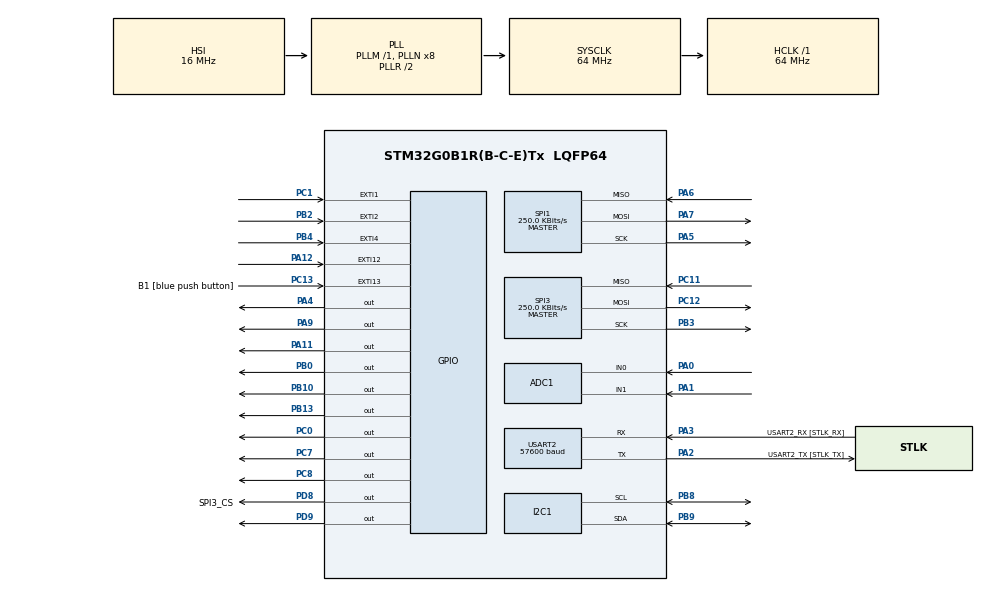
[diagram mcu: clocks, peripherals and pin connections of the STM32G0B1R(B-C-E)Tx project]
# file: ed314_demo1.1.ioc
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ADC1.Channel-0\#ChannelRegularConversion=ADC_CHANNEL_0
ADC1.Channel-1\#ChannelRegularConversion=ADC_CHANNEL_1
ADC1.ClockPrescaler=ADC_CLOCK_SYNC_PCLK_DIV2
ADC1.ContinuousConvMode=DISABLE
ADC1.DMAContinuousRequests=ENABLE
ADC1.ExternalTrigConv=ADC_EXTERNALTRIG_T2_TRGO
ADC1.NbrOfConversion=2
ADC1.NbrOfConversionFlag=1
ADC1.Rank-0\#ChannelRegularConversion=1
ADC1.Rank-1\#ChannelRegularConversion=2
ADC1.SamplingTime-0\#ChannelRegularConversion=ADC_SAMPLINGTIME_COMMON_1
ADC1.SamplingTime-1\#ChannelRegularConversion=ADC_SAMPLINGTIME_COMMON_1
ADC1.SamplingTimeCommon1=ADC_SAMPLETIME_12CYCLES_5
ADC1.SamplingTimeCommon2=ADC_SAMPLETIME_12CYCLES_5
ADC1.SelectedChannel=ADC_CHANNEL_0|ADC_CHANNEL_1
ADC1.master=1
Dma.ADC1.0.Direction=DMA_PERIPH_TO_MEMORY
Dma.ADC1.0.EventEnable=DISABLE
Dma.ADC1.0.Instance=DMA1_Channel1
Dma.ADC1.0.MemDataAlignment=DMA_MDATAALIGN_WORD
Dma.ADC1.0.MemInc=DMA_MINC_ENABLE
Dma.ADC1.0.Mode=DMA_CIRCULAR
Dma.ADC1.0.PeriphDataAlignment=DMA_PDATAALIGN_WORD
Dma.ADC1.0.PeriphInc=DMA_PINC_DISABLE
Dma.ADC1.0.Polarity=HAL_DMAMUX_REQ_GEN_RISING
Dma.ADC1.0.Priority=DMA_PRIORITY_LOW
Dma.ADC1.0.RequestNumber=1
Dma.ADC1.0.SignalID=NONE
Dma.ADC1.0.SyncEnable=DISABLE
Dma.ADC1.0.SyncPolarity=HAL_DMAMUX_SYNC_NO_EVENT
Dma.ADC1.0.SyncRequestNumber=1
Dma.ADC1.0.SyncSignalID=NONE
Dma.Request0=ADC1
I2C1.Timing=0x10B17DB5
Mcu.Family=STM32G0
Mcu.Name=STM32G0B1R(B-C-E)Tx
Mcu.Package=LQFP64
NVIC.DMA1_Channel1_IRQn=true\:0\:0\:false\:false\:true\:false\:true\:true
NVIC.EXTI0_1_IRQn=true\:0\:0\:false\:false\:true\:true\:true\:true
NVIC.EXTI2_3_IRQn=true\:0\:0\:false\:false\:true\:true\:true\:true
NVIC.EXTI4_15_IRQn=true\:0\:0\:false\:false\:true\:true\:true\:true
NVIC.TIM2_IRQn=true\:0\:0\:false\:false\:true\:true\:true\:true
NVIC.USART2_LPUART2_IRQn=true\:0\:0\:false\:false\:true\:true\:true\:true
PA0.Mode=IN0
PA0.Signal=ADC1_IN0
PA1.Mode=IN1
PA1.Signal=ADC1_IN1
PA11\ [PA9].PinState=GPIO_PIN_RESET
PA11\ [PA9].Signal=GPIO_Output
PA12\ [PA10].GPIO_PuPd=GPIO_PULLDOWN
PA12\ [PA10].Signal=GPXTI12
PA13.GPIO_Label=TMS
PA13.Mode=Serial_Wire
PA13.Signal=SYS_SWDIO
PA14-BOOT0.GPIO_Label=TCK
PA14-BOOT0.Mode=Serial_Wire
PA14-BOOT0.Signal=SYS_SWCLK
PA2.GPIO_Label=USART2_TX [STLK_TX]
PA2.Mode=Asynchronous
PA2.Signal=USART2_TX
PA3.GPIO_Label=USART2_RX [STLK_RX]
PA3.Mode=Asynchronous
PA3.Signal=USART2_RX
PA4.Signal=GPIO_Output
PA5.Mode=Full_Duplex_Master
PA5.Signal=SPI1_SCK
PA6.Mode=Full_Duplex_Master
PA6.Signal=SPI1_MISO
PA7.Mode=Full_Duplex_Master
PA7.Signal=SPI1_MOSI
PA9.Signal=GPIO_Output
PB0.Signal=GPIO_Output
PB10.Signal=GPIO_Output
PB13.Signal=GPIO_Output
PB2.GPIO_PuPd=GPIO_PULLDOWN
PB2.Signal=GPXTI2
PB3.GPIO_PuPd=GPIO_PULLUP
PB3.Mode=Full_Duplex_Master
PB3.Signal=SPI3_SCK
PB4.GPIO_PuPd=GPIO_PULLDOWN
PB4.Signal=GPXTI4
PB8.Mode=I2C
PB8.Signal=I2C1_SCL
PB9.Mode=I2C
PB9.Signal=I2C1_SDA
PC0.Signal=GPIO_Output
PC1.GPIO_PuPd=GPIO_PULLDOWN
PC1.Signal=GPXTI1
PC11.GPIO_PuPd=GPIO_PULLUP
PC11.Mode=Full_Duplex_Master
PC11.Signal=SPI3_MISO
PC12.GPIO_PuPd=GPIO_PULLUP
PC12.Mode=Full_Duplex_Master
PC12.Signal=SPI3_MOSI
PC13.GPIO_Label=B1 [blue push button]
PC13.Signal=GPXTI13
PC14-OSC32_IN\ (PC14).Mode=LSE-External-Oscillator
PC14-OSC32_IN\ (PC14).Signal=RCC_OSC32_IN
PC15-OSC32_OUT\ (PC15).Mode=LSE-External-Oscillator
PC15-OSC32_OUT\ (PC15).Signal=RCC_OSC32_OUT
PC7.Signal=GPIO_Output
PC8.Signal=GPIO_Output
PD8.GPIO_Label=SPI3_CS
PD8.GPIO_PuPd=GPIO_PULLUP
PD8.PinState=GPIO_PIN_SET
PD8.Signal=GPIO_Output
PD9.Signal=GPIO_Output
PF0-OSC_IN\ (PF0).GPIO_Label=MCO
PF0-OSC_IN\ (PF0).Mode=HSE-External-Clock-Source
PF0-OSC_IN\ (PF0).Signal=RCC_OSC_IN
ProjectManager.HeapSize=0x200
ProjectManager.StackSize=0x400
ProjectManager.TargetToolchain=STM32CubeIDE
RCC.ADCFreq_Value=64000000
RCC.AHBFreq_Value=64000000
RCC.CortexFreq_Value=64000000
RCC.EXTERNAL_CLOCK_VALUE=12288000
RCC.HCLKFreq_Value=64000000
RCC.HSE_VALUE=8000000
RCC.HSI48_VALUE=48000000
RCC.HSI_VALUE=16000000
RCC.RTCClockSelection=RCC_RTCCLKSOURCE_LSE
RCC.SYSCLKFreq_VALUE=64000000
RCC.SYSCLKSource=RCC_SYSCLKSOURCE_PLLCLK
RCC.USBFreq_Value=48000000
RCC.VCOOutputFreq_Value=128000000
RTC.Date=26
RTC.Hours=22
RTC.Minutes=12
RTC.Month=RTC_MONTH_FEBRUARY
RTC.Seconds=42
RTC.WeekDay=RTC_WEEKDAY_WEDNESDAY
RTC.Year=25
SPI1.BaudRatePrescaler=SPI_BAUDRATEPRESCALER_256
SPI1.CalculateBaudRate=250.0 KBits/s
SPI1.Direction=SPI_DIRECTION_2LINES
SPI1.Mode=SPI_MODE_MASTER
SPI1.VirtualType=VM_MASTER
SPI3.BaudRatePrescaler=SPI_BAUDRATEPRESCALER_256
SPI3.CalculateBaudRate=250.0 KBits/s
SPI3.Direction=SPI_DIRECTION_2LINES
SPI3.Mode=SPI_MODE_MASTER
SPI3.VirtualType=VM_MASTER
TIM2.Period=12799
TIM2.Prescaler=0
TIM2.TIM_MasterOutputTrigger=TIM_TRGO_UPDATE
USART2.BaudRate=57600
USART2.Parity=PARITY_EVEN
USART2.VirtualMode-Asynchronous=VM_ASYNC
USART2.WordLength=WORDLENGTH_9B
VP_FATFS_VS_Generic.Mode=User_defined
VP_RTC_VS_RTC_Activate.Mode=RTC_Enabled
VP_RTC_VS_RTC_Calendar.Mode=RTC_Calendar
VP_SYS_VS_DBSignals.Mode=DisableDeadBatterySignals
VP_TIM2_VS_ClockSourceINT.Mode=Internal
board=NUCLEO-G0B1RE

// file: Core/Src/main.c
/* USER CODE BEGIN Header */
/**
 ******************************************************************************
 * @file           : main.c
 * @brief          : Main program body
 ******************************************************************************
 * @attention
 *
 * Copyright (c) 2025 STMicroelectronics.
 * All rights reserved.
 *
 * This software is licensed under terms that can be found in the LICENSE file
 * in the root directory of this software component.
 * If no LICENSE file comes with this software, it is provided AS-IS.
 *
 ******************************************************************************
 */
/* USER CODE END Header */
#include "main.h"
#include "app_fatfs.h"

/* USER CODE BEGIN Includes */
#include <math.h>
#include <stdio.h>
#include <string.h>
#include <stdarg.h>
#include <ssd1306.h>
#include <ssd1306_fonts.h>
#include "RC522.h"
#include <ctype.h>
/* USER CODE END Includes */

/* USER CODE BEGIN PD */
#define BUFFER_SIZE 400
#define OP_AMP_GAIN 1.33
#define DEBOUNCE_DELAY 20

// Font and color definitions
#define FONT Font_6x8
#define TEXT_COLOR  White
#define BG_COLOR    Black

// Display constants - adjusted for 128x32 OLED
#define DISPLAY_WIDTH  128
#define DISPLAY_HEIGHT 32
#define LINE_HEIGHT    10
#define LEFT_MARGIN    2
#define VALUE_COLUMN   60

/* USER CODE END PD */

ADC_HandleTypeDef hadc1;
DMA_HandleTypeDef hdma_adc1;

I2C_HandleTypeDef hi2c1;

RTC_HandleTypeDef hrtc;

SPI_HandleTypeDef hspi1;
SPI_HandleTypeDef hspi3;

TIM_HandleTypeDef htim2;

UART_HandleTypeDef huart2;

/* USER CODE BEGIN PV */

uint8_t rx_buffer[50];
uint8_t rx_buffer_command[50];
volatile uint8_t rx_index = 0;
volatile uint8_t dma_complete = 0;
uint32_t adc_buffer[BUFFER_SIZE];
uint32_t v_max;
uint32_t v_min;
uint32_t i_max;
uint32_t i_min;
float voltage = 0.0;
float voltage_buf[BUFFER_SIZE / 2];
float current_buf[BUFFER_SIZE / 2];

float current = 0.0;
float apparent = 0.0;
float power_factor = 0.0;
float units_left = 0.0;
float phase_diff = 0.0;
float real_power = 0.0;
float reactive_power = 0.0;
float energy = 0.0;
float max_power = 3000.0;
float min_units = 10.0;
int unit_add = 0;
int unit_add_wH = 0;
float unit_add_kWH;
int count_units = 1;

volatile int uartFlag = 0;
volatile int logging = 0;

// Define states for the load button
volatile int loadButton = 0;
typedef enum {
	LOAD_BTN_IDLE, LOAD_BTN_DEBOUNCE, LOAD_BTN_HELD, LOAD_BTN_WAIT_RELEASE
} LoadButtonState;
static LoadButtonState loadBtnState = LOAD_BTN_IDLE;
static uint32_t loadDebounceStartTime = 0;
static const uint32_t LOAD_DEBOUNCE_DELAY = DEBOUNCE_DELAY; // Use the same delay constant

typedef enum {
	KEYPAD_IDLE, KEYPAD_DEBOUNCE, KEYPAD_HELD, KEYPAD_WAIT_RELEASE
} KeypadState;

KeypadState keypadState = KEYPAD_IDLE;

static uint32_t debounceStartTime = 0;     // When the debounce timing started
char detectedKey = 0;               // The key currently being debounced
volatile uint8_t keypadButton = 0; // Flag set by interrupt when any key is pressed
char currentKeypadInput = 0;       // The most recently confirmed pressed key
int keyHandled = 0;

// State machine states
typedef enum {
	STATE_DEFAULT_PAGE,
	STATE_DISPLAY_PAGE_1,
	STATE_DISPLAY_PAGE_2,
	STATE_DISPLAY_PAGE_3,
	STATE_MENU_LEVEL_1,
	STATE_LOAD_SWITCH_MENU,
	STATE_LOAD_SWITCH_MENU_ON,
	STATE_LOAD_SWITCH_MENU_OFF,
	STATE_MENU_LEVEL_2,
	STATE_UNIT_COUNT_MENU,
	STATE_UNIT_COUNT_MENU_ON,
	STATE_UNIT_COUNT_MENU_OFF,
	STATE_UNITS_ADD_MENU,
	STATE_COUNT_RFID_ON,
	STATE_COUNT_RFID_OFF,
	STATE_UNITS_RFID,
	UNITS_ADD_RFID_UART
} SystemState;

SystemState currentState = STATE_DEFAULT_PAGE;
SystemState prevState = STATE_DEFAULT_PAGE;

uint32_t lastToggleTimeLEDUnitsLow = 0;
uint32_t lastToggleTimeLEDhighUsage = 0;
float wHTicker = 10.010;

volatile int authFlag = 0;
volatile int authOK = 0;
uint32_t authTime = 0;
volatile int firstAuth = 0;

/* USER CODE END PV */

void SystemClock_Config(void);
static void MX_GPIO_Init(void);
static void MX_DMA_Init(void);
static void MX_USART2_UART_Init(void);
static void MX_RTC_Init(void);
static void MX_ADC1_Init(void);
static void MX_TIM2_Init(void);
static void MX_I2C1_Init(void);
static void MX_SPI1_Init(void);
static void MX_SPI3_Init(void);
/* USER CODE BEGIN PFP */
void send_stat_response(void);
void send_student_num(void);
void start_listening_for_commands(void);
void set_RMS(int v_or_i);
void convert_ADC(void);
void loadButtonPressed(void);
void keypadButtonPressed(void);

void clearDisplay(void);
void writeTextLine(uint8_t row, const char *text);
void writeValueAtRow(uint8_t row, const char *text);
void updateDisplay(void);
void updatePowerMonitorState(void);
void initPowerMonitor(void);
void sd_commands(int sd_flag);

void power_calcs(void);

void debugLEDWhTicker(void);
void debugLEDUnitsLow(void);
void debugLEDhighUsage(void);

void uartCommand(void);
void logStats(void);

void initUnits(void);
void authorise(void);
/* USER CODE END PFP */

int main(void) {

	/* MCU Configuration--------------------------------------------------------*/

	/* Reset of all peripherals, Initializes the Flash interface and the Systick. */
	HAL_Init();

	/* Configure the system clock */
	SystemClock_Config();

	/* Initialize all configured peripherals */
	MX_GPIO_Init();
	MX_DMA_Init();
	MX_USART2_UART_Init();
	MX_RTC_Init();
	MX_ADC1_Init();
	MX_TIM2_Init();
	MX_I2C1_Init();
	MX_SPI1_Init();
	MX_SPI3_Init();
	if (MX_FATFS_Init() != APP_OK) {
		Error_Handler();
	}
	/* USER CODE BEGIN 2 */

	send_student_num();

	initUnits();

	initPowerMonitor();

	MFRC522_Init(); // CicuitGator HQ YouTube channel
	AntennaOff();

	int lastUpdate = 0;
	int lastSDLog = 0;

	start_listening_for_commands();

	HAL_TIM_Base_Start(&htim2); // Start timer with interrupts
	HAL_ADC_Start_DMA(&hadc1, (uint32_t*) adc_buffer, 200 * 2); // Start ADC

	HAL_GPIO_WritePin(GPIOA, GPIO_PIN_11, 1);
	HAL_GPIO_WritePin(GPIOC, GPIO_PIN_0, 1);
	HAL_GPIO_WritePin(GPIOB, GPIO_PIN_10, 1);
	HAL_GPIO_WritePin(GPIOB, GPIO_PIN_13, 1);

	/* USER CODE END 2 */

	/* Infinite loop */
	/* USER CODE BEGIN WHILE */
	while (1) {
		if (uartFlag == 1) {
			uartCommand();
			uartFlag = 0;
		}

		if (dma_complete) {
			convert_ADC();
			dma_complete = 0;
		}

		if (loadButton) {
			loadButtonPressed();
		}

		if (keypadButton == 1) {
			keypadButtonPressed();

			if (currentKeypadInput != 0) {
				updatePowerMonitorState();
				currentKeypadInput = 0;
			}
		}

		if (authFlag == 1) {
			authorise();
		}

		if (HAL_GetTick() - lastUpdate > 500) {
			lastUpdate = HAL_GetTick();
			updateDisplay();
		}

		if (HAL_GetTick() - lastSDLog > 1000 && logging == 1) {
			lastSDLog = HAL_GetTick();
			logStats();
		}

		if (units_left < min_units) {
			debugLEDUnitsLow();
		} else {
			HAL_GPIO_WritePin(GPIOA, GPIO_PIN_4, 0);
			lastToggleTimeLEDUnitsLow = 0;
		}

		if (real_power > max_power) {
			debugLEDhighUsage();
		} else {
			HAL_GPIO_WritePin(GPIOC, GPIO_PIN_7, 0);
			lastToggleTimeLEDhighUsage = 0;
		}

		/* USER CODE END WHILE */

	}
}

void SystemClock_Config(void) {
	RCC_OscInitTypeDef RCC_OscInitStruct = { 0 };
	RCC_ClkInitTypeDef RCC_ClkInitStruct = { 0 };

	/** Configure the main internal regulator output voltage
	 */
	HAL_PWREx_ControlVoltageScaling(PWR_REGULATOR_VOLTAGE_SCALE1);

	/** Configure LSE Drive Capability
	 */
	HAL_PWR_EnableBkUpAccess();
	__HAL_RCC_LSEDRIVE_CONFIG(RCC_LSEDRIVE_LOW);

	/** Initializes the RCC Oscillators according to the specified parameters
	 * in the RCC_OscInitTypeDef structure.
	 */
	RCC_OscInitStruct.OscillatorType = RCC_OSCILLATORTYPE_HSI
			| RCC_OSCILLATORTYPE_LSE;
	RCC_OscInitStruct.LSEState = RCC_LSE_ON;
	RCC_OscInitStruct.HSIState = RCC_HSI_ON;
	RCC_OscInitStruct.HSIDiv = RCC_HSI_DIV1;
	RCC_OscInitStruct.HSICalibrationValue = RCC_HSICALIBRATION_DEFAULT;
	RCC_OscInitStruct.PLL.PLLState = RCC_PLL_ON;
	RCC_OscInitStruct.PLL.PLLSource = RCC_PLLSOURCE_HSI;
	RCC_OscInitStruct.PLL.PLLM = RCC_PLLM_DIV1;
	RCC_OscInitStruct.PLL.PLLN = 8;
	RCC_OscInitStruct.PLL.PLLP = RCC_PLLP_DIV2;
	RCC_OscInitStruct.PLL.PLLQ = RCC_PLLQ_DIV2;
	RCC_OscInitStruct.PLL.PLLR = RCC_PLLR_DIV2;
	if (HAL_RCC_OscConfig(&RCC_OscInitStruct) != HAL_OK) {
		Error_Handler();
	}

	/** Initializes the CPU, AHB and APB buses clocks
	 */
	RCC_ClkInitStruct.ClockType = RCC_CLOCKTYPE_HCLK | RCC_CLOCKTYPE_SYSCLK
			| RCC_CLOCKTYPE_PCLK1;
	RCC_ClkInitStruct.SYSCLKSource = RCC_SYSCLKSOURCE_PLLCLK;
	RCC_ClkInitStruct.AHBCLKDivider = RCC_SYSCLK_DIV1;
	RCC_ClkInitStruct.APB1CLKDivider = RCC_HCLK_DIV1;

	if (HAL_RCC_ClockConfig(&RCC_ClkInitStruct, FLASH_LATENCY_2) != HAL_OK) {
		Error_Handler();
	}
}

static void MX_ADC1_Init(void) {

	ADC_ChannelConfTypeDef sConfig = { 0 };

	/** Configure the global features of the ADC (Clock, Resolution, Data Alignment and number of conversion)
	 */
	hadc1.Instance = ADC1;
	hadc1.Init.ClockPrescaler = ADC_CLOCK_SYNC_PCLK_DIV2;
	hadc1.Init.Resolution = ADC_RESOLUTION_12B;
	hadc1.Init.DataAlign = ADC_DATAALIGN_RIGHT;
	hadc1.Init.ScanConvMode = ADC_SCAN_ENABLE;
	hadc1.Init.EOCSelection = ADC_EOC_SINGLE_CONV;
	hadc1.Init.LowPowerAutoWait = DISABLE;
	hadc1.Init.LowPowerAutoPowerOff = DISABLE;
	hadc1.Init.ContinuousConvMode = DISABLE;
	hadc1.Init.NbrOfConversion = 2;
	hadc1.Init.DiscontinuousConvMode = DISABLE;
	hadc1.Init.ExternalTrigConv = ADC_EXTERNALTRIG_T2_TRGO;
	hadc1.Init.ExternalTrigConvEdge = ADC_EXTERNALTRIGCONVEDGE_RISING;
	hadc1.Init.DMAContinuousRequests = ENABLE;
	hadc1.Init.Overrun = ADC_OVR_DATA_PRESERVED;
	hadc1.Init.SamplingTimeCommon1 = ADC_SAMPLETIME_12CYCLES_5;
	hadc1.Init.SamplingTimeCommon2 = ADC_SAMPLETIME_12CYCLES_5;
	hadc1.Init.OversamplingMode = DISABLE;
	hadc1.Init.TriggerFrequencyMode = ADC_TRIGGER_FREQ_HIGH;
	if (HAL_ADC_Init(&hadc1) != HAL_OK) {
		Error_Handler();
	}

	/** Configure Regular Channel
	 */
	sConfig.Channel = ADC_CHANNEL_0;
	sConfig.Rank = ADC_REGULAR_RANK_1;
	sConfig.SamplingTime = ADC_SAMPLINGTIME_COMMON_1;
	if (HAL_ADC_ConfigChannel(&hadc1, &sConfig) != HAL_OK) {
		Error_Handler();
	}

	/** Configure Regular Channel
	 */
	sConfig.Channel = ADC_CHANNEL_1;
	sConfig.Rank = ADC_REGULAR_RANK_2;
	if (HAL_ADC_ConfigChannel(&hadc1, &sConfig) != HAL_OK) {
		Error_Handler();
	}

}

static void MX_I2C1_Init(void) {

	hi2c1.Instance = I2C1;
	hi2c1.Init.Timing = 0x10B17DB5;
	hi2c1.Init.OwnAddress1 = 0;
	hi2c1.Init.AddressingMode = I2C_ADDRESSINGMODE_7BIT;
	hi2c1.Init.DualAddressMode = I2C_DUALADDRESS_DISABLE;
	hi2c1.Init.OwnAddress2 = 0;
	hi2c1.Init.OwnAddress2Masks = I2C_OA2_NOMASK;
	hi2c1.Init.GeneralCallMode = I2C_GENERALCALL_DISABLE;
	hi2c1.Init.NoStretchMode = I2C_NOSTRETCH_DISABLE;
	if (HAL_I2C_Init(&hi2c1) != HAL_OK) {
		Error_Handler();
	}

	/** Configure Analogue filter
	 */
	if (HAL_I2CEx_ConfigAnalogFilter(&hi2c1, I2C_ANALOGFILTER_ENABLE)
			!= HAL_OK) {
		Error_Handler();
	}

	/** Configure Digital filter
	 */
	if (HAL_I2CEx_ConfigDigitalFilter(&hi2c1, 0) != HAL_OK) {
		Error_Handler();
	}

}

static void MX_RTC_Init(void) {

	RTC_TimeTypeDef sTime = { 0 };
	RTC_DateTypeDef sDate = { 0 };

	/** Initialize RTC Only
	 */
	hrtc.Instance = RTC;
	hrtc.Init.HourFormat = RTC_HOURFORMAT_24;
	hrtc.Init.AsynchPrediv = 127;
	hrtc.Init.SynchPrediv = 255;
	hrtc.Init.OutPut = RTC_OUTPUT_DISABLE;
	hrtc.Init.OutPutRemap = RTC_OUTPUT_REMAP_NONE;
	hrtc.Init.OutPutPolarity = RTC_OUTPUT_POLARITY_HIGH;
	hrtc.Init.OutPutType = RTC_OUTPUT_TYPE_OPENDRAIN;
	hrtc.Init.OutPutPullUp = RTC_OUTPUT_PULLUP_NONE;
	if (HAL_RTC_Init(&hrtc) != HAL_OK) {
		Error_Handler();
	}

	/** Initialize RTC and set the Time and Date
	 */
	sTime.Hours = 0x22;
	sTime.Minutes = 0x12;
	sTime.Seconds = 0x42;
	sTime.SubSeconds = 0x0;
	sTime.DayLightSaving = RTC_DAYLIGHTSAVING_NONE;
	sTime.StoreOperation = RTC_STOREOPERATION_RESET;
	if (HAL_RTC_SetTime(&hrtc, &sTime, RTC_FORMAT_BCD) != HAL_OK) {
		Error_Handler();
	}
	sDate.WeekDay = RTC_WEEKDAY_WEDNESDAY;
	sDate.Month = RTC_MONTH_FEBRUARY;
	sDate.Date = 0x26;
	sDate.Year = 0x25;

	if (HAL_RTC_SetDate(&hrtc, &sDate, RTC_FORMAT_BCD) != HAL_OK) {
		Error_Handler();
	}

}

static void MX_SPI1_Init(void) {

	/* SPI1 parameter configuration*/
	hspi1.Instance = SPI1;
	hspi1.Init.Mode = SPI_MODE_MASTER;
	hspi1.Init.Direction = SPI_DIRECTION_2LINES;
	hspi1.Init.DataSize = SPI_DATASIZE_8BIT;
	hspi1.Init.CLKPolarity = SPI_POLARITY_LOW;
	hspi1.Init.CLKPhase = SPI_PHASE_1EDGE;
	hspi1.Init.NSS = SPI_NSS_SOFT;
	hspi1.Init.BaudRatePrescaler = SPI_BAUDRATEPRESCALER_256;
	hspi1.Init.FirstBit = SPI_FIRSTBIT_MSB;
	hspi1.Init.TIMode = SPI_TIMODE_DISABLE;
	hspi1.Init.CRCCalculation = SPI_CRCCALCULATION_DISABLE;
	hspi1.Init.CRCPolynomial = 7;
	hspi1.Init.CRCLength = SPI_CRC_LENGTH_DATASIZE;
	hspi1.Init.NSSPMode = SPI_NSS_PULSE_ENABLE;
	if (HAL_SPI_Init(&hspi1) != HAL_OK) {
		Error_Handler();
	}

}

static void MX_SPI3_Init(void) {

	/* SPI3 parameter configuration*/
	hspi3.Instance = SPI3;
	hspi3.Init.Mode = SPI_MODE_MASTER;
	hspi3.Init.Direction = SPI_DIRECTION_2LINES;
	hspi3.Init.DataSize = SPI_DATASIZE_8BIT;
	hspi3.Init.CLKPolarity = SPI_POLARITY_LOW;
	hspi3.Init.CLKPhase = SPI_PHASE_1EDGE;
	hspi3.Init.NSS = SPI_NSS_SOFT;
	hspi3.Init.BaudRatePrescaler = SPI_BAUDRATEPRESCALER_256;
	hspi3.Init.FirstBit = SPI_FIRSTBIT_MSB;
	hspi3.Init.TIMode = SPI_TIMODE_DISABLE;
	hspi3.Init.CRCCalculation = SPI_CRCCALCULATION_DISABLE;
	hspi3.Init.CRCPolynomial = 7;
	hspi3.Init.CRCLength = SPI_CRC_LENGTH_DATASIZE;
	hspi3.Init.NSSPMode = SPI_NSS_PULSE_ENABLE;
	if (HAL_SPI_Init(&hspi3) != HAL_OK) {
		Error_Handler();
	}

}

static void MX_TIM2_Init(void) {

	TIM_ClockConfigTypeDef sClockSourceConfig = { 0 };
	TIM_MasterConfigTypeDef sMasterConfig = { 0 };

	htim2.Instance = TIM2;
	htim2.Init.Prescaler = 0;
	htim2.Init.CounterMode = TIM_COUNTERMODE_UP;
	htim2.Init.Period = 12799;
	htim2.Init.ClockDivision = TIM_CLOCKDIVISION_DIV1;
	htim2.Init.AutoReloadPreload = TIM_AUTORELOAD_PRELOAD_DISABLE;
	if (HAL_TIM_Base_Init(&htim2) != HAL_OK) {
		Error_Handler();
	}
	sClockSourceConfig.ClockSource = TIM_CLOCKSOURCE_INTERNAL;
	if (HAL_TIM_ConfigClockSource(&htim2, &sClockSourceConfig) != HAL_OK) {
		Error_Handler();
	}
	sMasterConfig.MasterOutputTrigger = TIM_TRGO_UPDATE;
	sMasterConfig.MasterSlaveMode = TIM_MASTERSLAVEMODE_DISABLE;
	if (HAL_TIMEx_MasterConfigSynchronization(&htim2, &sMasterConfig)
			!= HAL_OK) {
		Error_Handler();
	}

}

static void MX_USART2_UART_Init(void) {

	huart2.Instance = USART2;
	huart2.Init.BaudRate = 57600;
	huart2.Init.WordLength = UART_WORDLENGTH_9B;
	huart2.Init.StopBits = UART_STOPBITS_1;
	huart2.Init.Parity = UART_PARITY_EVEN;
	huart2.Init.Mode = UART_MODE_TX_RX;
	huart2.Init.HwFlowCtl = UART_HWCONTROL_NONE;
	huart2.Init.OverSampling = UART_OVERSAMPLING_16;
	huart2.Init.OneBitSampling = UART_ONE_BIT_SAMPLE_DISABLE;
	huart2.Init.ClockPrescaler = UART_PRESCALER_DIV1;
	huart2.AdvancedInit.AdvFeatureInit = UART_ADVFEATURE_NO_INIT;
	if (HAL_UART_Init(&huart2) != HAL_OK) {
		Error_Handler();
	}
	if (HAL_UARTEx_SetTxFifoThreshold(&huart2, UART_TXFIFO_THRESHOLD_1_8)
			!= HAL_OK) {
		Error_Handler();
	}
	if (HAL_UARTEx_SetRxFifoThreshold(&huart2, UART_RXFIFO_THRESHOLD_1_8)
			!= HAL_OK) {
		Error_Handler();
	}
	if (HAL_UARTEx_DisableFifoMode(&huart2) != HAL_OK) {
		Error_Handler();
	}

}

static void MX_DMA_Init(void) {

	/* DMA controller clock enable */
	__HAL_RCC_DMA1_CLK_ENABLE();

	/* DMA interrupt init */
	/* DMA1_Channel1_IRQn interrupt configuration */
	HAL_NVIC_SetPriority(DMA1_Channel1_IRQn, 0, 0);
	HAL_NVIC_EnableIRQ(DMA1_Channel1_IRQn);

}

static void MX_GPIO_Init(void) {
	GPIO_InitTypeDef GPIO_InitStruct = { 0 };

	/* GPIO Ports Clock Enable */
	__HAL_RCC_GPIOC_CLK_ENABLE();
	__HAL_RCC_GPIOF_CLK_ENABLE();
	__HAL_RCC_GPIOA_CLK_ENABLE();
	__HAL_RCC_GPIOB_CLK_ENABLE();
	__HAL_RCC_GPIOD_CLK_ENABLE();

	/*Configure GPIO pin Output Level */
	HAL_GPIO_WritePin(GPIOC, GPIO_PIN_0 | GPIO_PIN_7 | GPIO_PIN_8,
			GPIO_PIN_RESET);

	/*Configure GPIO pin Output Level */
	HAL_GPIO_WritePin(GPIOA, GPIO_PIN_4 | GPIO_PIN_9 | GPIO_PIN_11,
			GPIO_PIN_RESET);

	/*Configure GPIO pin Output Level */
	HAL_GPIO_WritePin(GPIOB, GPIO_PIN_0 | GPIO_PIN_10 | GPIO_PIN_13,
			GPIO_PIN_RESET);

	/*Configure GPIO pin Output Level */
	HAL_GPIO_WritePin(SPI3_CS_GPIO_Port, SPI3_CS_Pin, GPIO_PIN_SET);

	/*Configure GPIO pin Output Level */
	HAL_GPIO_WritePin(GPIOD, GPIO_PIN_9, GPIO_PIN_RESET);

	/*Configure GPIO pin : B1_Pin */
	GPIO_InitStruct.Pin = B1_Pin;
	GPIO_InitStruct.Mode = GPIO_MODE_IT_RISING;
	GPIO_InitStruct.Pull = GPIO_NOPULL;
	HAL_GPIO_Init(B1_GPIO_Port, &GPIO_InitStruct);

	/*Configure GPIO pins : PC0 PC7 PC8 */
	GPIO_InitStruct.Pin = GPIO_PIN_0 | GPIO_PIN_7 | GPIO_PIN_8;
	GPIO_InitStruct.Mode = GPIO_MODE_OUTPUT_PP;
	GPIO_InitStruct.Pull = GPIO_NOPULL;
	GPIO_InitStruct.Speed = GPIO_SPEED_FREQ_LOW;
	HAL_GPIO_Init(GPIOC, &GPIO_InitStruct);

	/*Configure GPIO pin : PC1 */
	GPIO_InitStruct.Pin = GPIO_PIN_1;
	GPIO_InitStruct.Mode = GPIO_MODE_IT_RISING;
	GPIO_InitStruct.Pull = GPIO_PULLDOWN;
	HAL_GPIO_Init(GPIOC, &GPIO_InitStruct);

	/*Configure GPIO pins : PA4 PA9 PA11 */
	GPIO_InitStruct.Pin = GPIO_PIN_4 | GPIO_PIN_9 | GPIO_PIN_11;
	GPIO_InitStruct.Mode = GPIO_MODE_OUTPUT_PP;
	GPIO_InitStruct.Pull = GPIO_NOPULL;
	GPIO_InitStruct.Speed = GPIO_SPEED_FREQ_LOW;
	HAL_GPIO_Init(GPIOA, &GPIO_InitStruct);

	/*Configure GPIO pins : PB0 PB10 PB13 */
	GPIO_InitStruct.Pin = GPIO_PIN_0 | GPIO_PIN_10 | GPIO_PIN_13;
	GPIO_InitStruct.Mode = GPIO_MODE_OUTPUT_PP;
	GPIO_InitStruct.Pull = GPIO_NOPULL;
	GPIO_InitStruct.Speed = GPIO_SPEED_FREQ_LOW;
	HAL_GPIO_Init(GPIOB, &GPIO_InitStruct);

	/*Configure GPIO pins : PB2 PB4 */
	GPIO_InitStruct.Pin = GPIO_PIN_2 | GPIO_PIN_4;
	GPIO_InitStruct.Mode = GPIO_MODE_IT_RISING;
	GPIO_InitStruct.Pull = GPIO_PULLDOWN;
	HAL_GPIO_Init(GPIOB, &GPIO_InitStruct);

	/*Configure GPIO pin : SPI3_CS_Pin */
	GPIO_InitStruct.Pin = SPI3_CS_Pin;
	GPIO_InitStruct.Mode = GPIO_MODE_OUTPUT_PP;
	GPIO_InitStruct.Pull = GPIO_PULLUP;
	GPIO_InitStruct.Speed = GPIO_SPEED_FREQ_LOW;
	HAL_GPIO_Init(SPI3_CS_GPIO_Port, &GPIO_InitStruct);

	/*Configure GPIO pin : PD9 */
	GPIO_InitStruct.Pin = GPIO_PIN_9;
	GPIO_InitStruct.Mode = GPIO_MODE_OUTPUT_PP;
	GPIO_InitStruct.Pull = GPIO_NOPULL;
	GPIO_InitStruct.Speed = GPIO_SPEED_FREQ_LOW;
	HAL_GPIO_Init(GPIOD, &GPIO_InitStruct);

	/*Configure GPIO pin : PA12 */
	GPIO_InitStruct.Pin = GPIO_PIN_12;
	GPIO_InitStruct.Mode = GPIO_MODE_IT_RISING;
	GPIO_InitStruct.Pull = GPIO_PULLDOWN;
	HAL_GPIO_Init(GPIOA, &GPIO_InitStruct);

	/* EXTI interrupt init*/
	HAL_NVIC_SetPriority(EXTI0_1_IRQn, 0, 0);
	HAL_NVIC_EnableIRQ(EXTI0_1_IRQn);

	HAL_NVIC_SetPriority(EXTI2_3_IRQn, 0, 0);
	HAL_NVIC_EnableIRQ(EXTI2_3_IRQn);

	HAL_NVIC_SetPriority(EXTI4_15_IRQn, 0, 0);
	HAL_NVIC_EnableIRQ(EXTI4_15_IRQn);

}

/* USER CODE BEGIN 4 */

void send_student_num(void) {
	// Student number to be transmitted on power up
	HAL_Delay(150);
	uint8_t stu_num[] = "*25964917#\n";
	// Transmit student number
	HAL_UART_Transmit(&huart2, stu_num, 11, 100);
}

void start_listening_for_commands(void) {
	// Start listening for first byte
	HAL_UART_Receive_IT(&huart2, &rx_buffer[rx_index], 1);

}

void authorise(void) {
	AntennaOn();
	uint8_t rfidStatus;
	uint8_t rfidStr[16];
	uint8_t rfidNum[5];

	// scan for card ID
	rfidStatus = MFRC522_Request(PICC_REQIDL, rfidStr);

	if (rfidStatus == MI_OK) {

		rfidStatus = MFRC522_Anticoll(rfidNum);
		if (rfidStatus == MI_OK) {

			if (rfidNum[0] == 117 && rfidNum[1] == 71 && rfidNum[2] == 71
					&& rfidNum[3] == 5 && rfidNum[4] == 112) {
				authOK = 1;
			}
		}
	}
	AntennaOff();
	updatePowerMonitorState();
}

//UART receive interrupt callback
void HAL_UART_RxCpltCallback(UART_HandleTypeDef *huart) {
	if (huart->Instance == USART2) {
		// Check for full command
		if (rx_index == 0 && rx_buffer[0] == '*') {
			rx_index++;
		} else if (rx_index > 0) {
			if (rx_buffer[rx_index] == '\n') {
				rx_buffer[rx_index] = '\0'; // Null terminate the string
				for (int i = 0; i <= rx_index; i++) {
					rx_buffer_command[i] = rx_buffer[i];
				}
				rx_index = 0; // Reset for next command
				uartFlag = 1;
			} else if (rx_index < 49) {
				rx_index++; // increase
			} else {
				rx_index = 0; // Buffer overflow, reset for safety
			}
		}
		// Restart listening for next byte
		HAL_UART_Receive_IT(&huart2, &rx_buffer[rx_index], 1);
	}

}

void uartCommand(void) {
	if (strcmp((char*) rx_buffer_command, "*Load#") == 0) {
		// Command to toggle load switch ON/OFF
		if (HAL_GPIO_ReadPin(GPIOA, GPIO_PIN_9) == 1) {
			HAL_GPIO_WritePin(GPIOA, GPIO_PIN_9, 0);
		} else if (HAL_GPIO_ReadPin(GPIOA, GPIO_PIN_9) == 0 && units_left > 0) {
			HAL_GPIO_WritePin(GPIOA, GPIO_PIN_9, 1);
		}
	} else if (strcmp((char*) rx_buffer_command, "*Stat#") == 0) {
		// Command to send SB status info
		send_stat_response();
	} else if (strcmp((char*) rx_buffer_command, "*Log#") == 0) {
		sd_commands(1);
	} else if (strcmp((char*) rx_buffer_command, "*Dump#") == 0) {
		sd_commands(2);
	} else if (strcmp((char*) rx_buffer_command, "*CLF#") == 0) {
		sd_commands(3);
	} else {
		if (rx_buffer_command[0] == '*' && rx_buffer_command[1] == 'U'
				&& rx_buffer_command[2] == 'n' && rx_buffer_command[3] == 'i'
				&& rx_buffer_command[4] == 't' && rx_buffer_command[5] == 's'
				&& rx_buffer_command[11] == '#') {
			int i = 6;
			if (isdigit(
					rx_buffer[6]) && isdigit(rx_buffer[7]) && isdigit(rx_buffer[8]) && isdigit(rx_buffer[9]) && isdigit(rx_buffer[10])) {
				while (rx_buffer_command[i] - '0' >= 0
						&& rx_buffer_command[i] - '0' <= 9 && i < 11) {
					unit_add_wH = unit_add_wH * 10
							+ (rx_buffer_command[i] - '0');
					i++;
				}

				unit_add_kWH = unit_add_wH * 0.001;
			if (unit_add_kWH + units_left >= 999.999) {
				unit_add_kWH = (999.999 - units_left);
			}
			prevState = currentState;
			currentState = UNITS_ADD_RFID_UART;
			authTime = HAL_GetTick();
			authFlag = 1;
			updatePowerMonitorState();
			}

		}
	}
	memset(rx_buffer_command, 0, sizeof(rx_buffer_command));

}

void sd_commands(int sd_flag) {
	switch (sd_flag) {
	case 1:
		logging = (logging + 1) % 2;
		break;

	case 2:
		//some variables for FatFs
		FATFS FatFs; 	//Fatfs handle
		FIL fil; 		//File handle
		FRESULT fres; //Result after operations

		//Open the file system
		fres = f_mount(&FatFs, "", 1); //1=mount now
		if (fres != FR_OK) {
			myprintf("f_mount error (%i)\r\n", fres);
		} else {
			//Let's try to open file "text.csv"
			fres = f_open(&fil, "text.csv", FA_READ);
			if (fres != FR_OK) {
				myprintf("f_open error (%i)\r\n", fres);
			} else {
				//Read 100 bytes from "text.csv" on the SD card
				BYTE readBuf[100];

				TCHAR *rres;
				while ((rres = f_gets((TCHAR*) readBuf, sizeof(readBuf), &fil))
						!= NULL) {
					myprintf("%s", readBuf);
				}
				// Close file
				f_close(&fil);
			}
			// De-mount drive
			f_mount(NULL, "", 0);
		}
		break;

	case 3:
		if (logging == 0) {
			//some variables for FatFs
			FATFS FatFs; 	//Fatfs handle
			FIL fil; 		//File handle
			FRESULT fres; //Result after operations

			//Open the file system
			fres = f_mount(&FatFs, "", 1); //1=mount now
			if (fres != FR_OK) {
				myprintf("f_mount error (%i)\r\n", fres);
			} else {

				//Let's try to open file "text.csv"
				fres = f_open(&fil, "text.csv", FA_CREATE_ALWAYS | FA_WRITE);
				if (fres != FR_OK) {
					myprintf("f_open error (%i)\r\n", fres);
				} else {

					// Close file
					f_close(&fil);
				}

				// De-mount drive
				f_mount(NULL, "", 0);
			}
		}
		break;

	}

}

void initUnits(void) {
	//some variables for FatFs
	FATFS FatFs; 	//Fatfs handle
	FIL fil; 		//File handle
	FRESULT fres; //Result after operations
	char units_str[8];
	//Open the file system
	fres = f_mount(&FatFs, "", 1); //1=mount now
	if (fres != FR_OK) {
		myprintf("f_mount error (%i)\r\n", fres);
	} else {
		//Let's try to open file "text.csv"
		fres = f_open(&fil, "text.csv", FA_READ);
		if (fres != FR_OK) {
			myprintf("f_open error (%i)\r\n", fres);
		} else {
			if (f_size(&fil) == 0) {
				units_left = 10.010;
			} else {
				//Read 100 bytes from "text.csv" on the SD card
				BYTE readBuf[100];
				char last_line[100];
				last_line[0] = '\0';

				TCHAR *rres;
				while ((rres = f_gets((TCHAR*) readBuf, sizeof(readBuf), &fil))
						!= NULL) {
					strcpy(last_line, (char*) readBuf);
				}
				if (strlen(last_line) >= 8) {
					strncpy(units_str, &last_line[strlen(last_line) - 8], 7);
					units_str[7] = '\0';
					units_left = atof(units_str);
				}

			}
			// Close file
			f_close(&fil);
		}
		// De-mount drive
		f_mount(NULL, "", 0);
	}

}

void logStats(void) {
	//some variables for FatFs
	FATFS FatFs; 	//Fatfs handle
	FIL fil; 		//File handle
	FRESULT fres; //Result after operations

	// Open file system
	fres = f_mount(&FatFs, "", 1); //1=mount now
	if (fres != FR_OK) {
		myprintf("f_mount error (%i)\r\n", fres);
	} else {
		// Write a file "text.txt"
		fres = f_open(&fil, "text.csv", FA_WRITE | FA_OPEN_ALWAYS);
		if (fres != FR_OK) {
			myprintf("f_open error (%i)\r\n", fres);
		} else {

			f_lseek(&fil, f_size(&fil));
			//100 bytes from "text.csv" on the SD card
			char bufSD[100];

			// Get current date and time
			RTC_TimeTypeDef sTime = { 0 };
			RTC_DateTypeDef sDate = { 0 };
			HAL_RTC_GetTime(&hrtc, &sTime, RTC_FORMAT_BIN);
			HAL_RTC_GetDate(&hrtc, &sDate, RTC_FORMAT_BIN);

			// Copy in a string
			sprintf(bufSD,
					"20%02d/%02d/%02d %02d:%02d:%02d,%05.1f,%05.0f,%05.3,%07.3f\r\n",
					sDate.Year, sDate.Month, sDate.Date, sTime.Hours,
					sTime.Minutes, sTime.Seconds, voltage, current, units_left);
			UINT bytesWrote;
			fres = f_write(&fil, bufSD, strlen(bufSD), &bytesWrote);
			if (fres != FR_OK) {
				myprintf("f_write error (%i)\r\n", fres);
			}

			// Close file
			f_close(&fil);
		}
		// De-mount drive
		f_mount(NULL, "", 0);
	}
}

void send_stat_response(void) {

	// Get current date and time
	RTC_TimeTypeDef sTime = { 0 };
	RTC_DateTypeDef sDate = { 0 };
	HAL_RTC_GetTime(&hrtc, &sTime, RTC_FORMAT_BIN);
	HAL_RTC_GetDate(&hrtc, &sDate, RTC_FORMAT_BIN);

	char SB_status_info[300];
	if (phase_diff < 0) {
		sprintf(SB_status_info, "20%02d/%02d/%02d %02d:%02d:%02d\n"
				"Voltage:     %05.1fV\n"
				"Current:    %05.0fmA\n"
				"Phase:    %05.3frad\n"
				"Apparent:    %04.0fVA\n"
				"Real:         %04.0fW\n"
				"Reactive:   %04.0fVAR\n"
				"PowerFact:    %05.3f\n"
				"Energy/d:   %05.0fWh\n"
				"MaxPower:     %04.0fW\n"
				"Units:   %07.3fkWh\n", sDate.Year, sDate.Month, sDate.Date,
				sTime.Hours, sTime.Minutes, sTime.Seconds, voltage, current,
				phase_diff, apparent, real_power, reactive_power, power_factor,
				energy, max_power, units_left);
	} else {
		sprintf(SB_status_info, "20%02d/%02d/%02d %02d:%02d:%02d\n"
				"Voltage:     %05.1fV\n"
				"Current:    %05.0fmA\n"
				"Phase:     %05.3frad\n"
				"Apparent:    %04.0fVA\n"
				"Real:         %04.0fW\n"
				"Reactive:   %04.0fVAR\n"
				"PowerFact:    %05.3f\n"
				"Energy/d:   %05.0fWh\n"
				"MaxPower:     %04.0fW\n"
				"Units:   %07.3fkWh\n", sDate.Year, sDate.Month, sDate.Date,
				sTime.Hours, sTime.Minutes, sTime.Seconds, voltage, current,
				phase_diff, apparent, real_power, reactive_power, power_factor,
				energy, max_power, units_left);
	}

	// Transmit SB stat info
	HAL_UART_Transmit(&huart2, SB_status_info, strlen(SB_status_info), 500);
}

void convert_ADC(void) {
	HAL_ADC_Stop_DMA(&hadc1);
	uint32_t adc_buffer_copy[BUFFER_SIZE];
	memcpy(adc_buffer_copy, (uint32_t*) adc_buffer,
			sizeof(uint32_t) * BUFFER_SIZE);
	HAL_ADC_Start_DMA(&hadc1, (uint32_t*) adc_buffer, BUFFER_SIZE);

	for (int i = 0; i < BUFFER_SIZE / 2; i++) {
		voltage_buf[i] = (float) adc_buffer_copy[i * 2];
		current_buf[i] = (float) adc_buffer_copy[i * 2 + 1];
	}

	v_max = 0;
	v_min = 4095;
	i_max = 0;
	i_min = 4095;

	for (uint16_t i = 0; i < BUFFER_SIZE / 2; i++) {
		if (adc_buffer_copy[i * 2] > v_max) {
			v_max = adc_buffer_copy[i * 2];
		}
		if (adc_buffer_copy[i * 2] < v_min) {
			v_min = adc_buffer_copy[i * 2];
		}
		if (adc_buffer_copy[i * 2 + 1] > i_max) {
			i_max = adc_buffer_copy[i * 2 + 1];
		}
		if (adc_buffer_copy[i * 2 + 1] < i_min) {
			i_min = adc_buffer_copy[i * 2 + 1];
		}
	}

	set_RMS(0); // flag 0 for voltage
	set_RMS(1); // flag 1 for current
	power_calcs();

}

void set_RMS(int v_or_i) {
	if (v_or_i == 0) // voltage
			{
		float vpp = v_max - v_min;
		vpp = vpp * (3.3 / 4096);
		voltage = (vpp / OP_AMP_GAIN) * 115;

		//if (voltage < 2) {
		//	voltage = 0;
		//}
	} else if (v_or_i == 1) // current
			{
		float ipp = i_max - i_min;
		ipp = ipp * (3.3 / 4096);
		current = ((ipp / OP_AMP_GAIN) * 7.5) * 1000;
		//if (current < 100) {
		//	current = 0;
		//}
	}
	apparent = voltage * (current / 1000);
}

void power_calcs(void) {
	const float sr = 5000.0;
	float v_cross = 0;
	float c_cross = 0;

	float v_mid = v_min + (v_max - v_min) / 2;
	float i_mid = i_min + (i_max - i_min) / 2;

	for (int i = 1; i < BUFFER_SIZE; i++) {
		if (voltage_buf[i - 1] < v_mid && voltage_buf[i] >= v_mid) {
			v_cross = (i - 1)
					+ ((v_mid - voltage_buf[i - 1])
							/ (voltage_buf[i] - voltage_buf[i - 1]));
			break;
		}
	}

	for (int i = 1; i < BUFFER_SIZE; i++) {
		if (current_buf[i - 1] < i_mid && current_buf[i] >= i_mid) {
			c_cross = (i - 1)
					+ ((i_mid - current_buf[i - 1])
							/ (current_buf[i] - current_buf[i - 1]));
			break;
		}
	}

	float time_diff_phase = (c_cross - v_cross) / (sr);
	float phase_diff_unnorm = time_diff_phase * 50 * 2 * M_PI; //pos: current lags voltage, neg: voltage lags current

	if (phase_diff_unnorm > M_PI) {
		phase_diff_unnorm = phase_diff_unnorm - 2 * M_PI;
	} else if (phase_diff_unnorm < -M_PI) {
		phase_diff_unnorm = phase_diff_unnorm + 2 * M_PI;
	}

	phase_diff = phase_diff_unnorm;

	real_power = voltage * (current / 1000) * cos(phase_diff);
	reactive_power = voltage * (current / 1000) * sin(phase_diff);
	power_factor = cos(phase_diff);

	if (count_units == 1) {
		if (units_left - (real_power * 0.04) / 3600000 <= 0) {
			units_left = 0;
		} else {
			units_left = units_left - (real_power * 0.04) / 3600000;
		}
		if (wHTicker - units_left >= 0.001) {
			debugLEDWhTicker();
		}
	}
}

void HAL_ADC_ConvCpltCallback(ADC_HandleTypeDef *hadc) {
	if (hadc->Instance == ADC1) {
		dma_complete = 1;
	}
}

void loadButtonPressed(void) {
	uint32_t currentTime = HAL_GetTick();
	uint8_t btnState = HAL_GPIO_ReadPin(GPIOB, GPIO_PIN_4); // Current state of the button (1 for pressed)

	switch (loadBtnState) {
	case LOAD_BTN_IDLE:
		if (btnState == 1) {
			loadDebounceStartTime = currentTime;
			loadBtnState = LOAD_BTN_DEBOUNCE;
		}
		break;
	case LOAD_BTN_DEBOUNCE:
		if ((currentTime - loadDebounceStartTime) > LOAD_DEBOUNCE_DELAY) {
			if (btnState == 1) {
				// Button is still pressed after debounce period
				loadBtnState = LOAD_BTN_HELD;
				// Execute the load toggle action
				if (HAL_GPIO_ReadPin(GPIOA, GPIO_PIN_9) == 1) {
					HAL_GPIO_WritePin(GPIOA, GPIO_PIN_9, 0);
				} else if (HAL_GPIO_ReadPin(GPIOA, GPIO_PIN_9) == 0
						&& units_left > 0) {
					HAL_GPIO_WritePin(GPIOA, GPIO_PIN_9, 1);
				}
			} else {
				// Button was released during debounce period
				loadBtnState = LOAD_BTN_IDLE;
			}
		}
		break;
	case LOAD_BTN_HELD:

		if (btnState == 0) {
			loadBtnState = LOAD_BTN_WAIT_RELEASE;
			break;
			case LOAD_BTN_WAIT_RELEASE:
			// Make sure button is fully released before going back to idle
			if (btnState == 0) {
				loadBtnState = LOAD_BTN_IDLE;
				loadButton = 0; // Reset the button flag if you're using it
			}
			break;
		}
	}
}

void HAL_GPIO_EXTI_Rising_Callback(uint16_t GPIO_Pin) {
	if (GPIO_Pin == GPIO_PIN_4) {
		loadButton = 1;
	} else if (GPIO_Pin == GPIO_PIN_1 || GPIO_Pin == GPIO_PIN_2
			|| GPIO_Pin == GPIO_PIN_12) {
		keypadButton = 1;

	}
}

void keypadButtonPressed(void) {
	uint32_t currentTime = HAL_GetTick();
	char key = 0;

	// Set all rows low initially
	HAL_GPIO_WritePin(GPIOA, GPIO_PIN_11, 0);  // Row 1
	HAL_GPIO_WritePin(GPIOB, GPIO_PIN_13, 0);  // Row 2
	HAL_GPIO_WritePin(GPIOB, GPIO_PIN_10, 0);  // Row 3
	HAL_GPIO_WritePin(GPIOC, GPIO_PIN_0, 0);   // Row 4

	// Small delay to let pins settle
	HAL_Delay(1);

	// Scan Row 1
	HAL_GPIO_WritePin(GPIOA, GPIO_PIN_11, 1);
	if (HAL_GPIO_ReadPin(GPIOC, GPIO_PIN_1) == 1) {
		key = '1';
	} else if (HAL_GPIO_ReadPin(GPIOA, GPIO_PIN_12) == 1) {
		key = '2';
	} else if (HAL_GPIO_ReadPin(GPIOB, GPIO_PIN_2) == 1) {
		key = '3';
	}
	HAL_GPIO_WritePin(GPIOA, GPIO_PIN_11, 0);

	// Scan Row 2
	if (key == 0) {
		HAL_GPIO_WritePin(GPIOB, GPIO_PIN_13, 1);
		if (HAL_GPIO_ReadPin(GPIOC, GPIO_PIN_1) == 1) {
			key = '4';
		} else if (HAL_GPIO_ReadPin(GPIOA, GPIO_PIN_12) == 1) {
			key = '5';
		} else if (HAL_GPIO_ReadPin(GPIOB, GPIO_PIN_2) == 1) {
			key = '6';
		}
		HAL_GPIO_WritePin(GPIOB, GPIO_PIN_13, 0);
	}

	// Scan Row 3
	if (key == 0) {
		HAL_GPIO_WritePin(GPIOB, GPIO_PIN_10, 1);
		if (HAL_GPIO_ReadPin(GPIOC, GPIO_PIN_1) == 1) {
			key = '7';
		} else if (HAL_GPIO_ReadPin(GPIOA, GPIO_PIN_12) == 1) {
			key = '8';
		} else if (HAL_GPIO_ReadPin(GPIOB, GPIO_PIN_2) == 1) {
			key = '9';
		}
		HAL_GPIO_WritePin(GPIOB, GPIO_PIN_10, 0);
	}

	// Scan Row 4
	if (key == 0) {
		HAL_GPIO_WritePin(GPIOC, GPIO_PIN_0, 1);
		if (HAL_GPIO_ReadPin(GPIOC, GPIO_PIN_1) == 1) {
			key = '*';
		} else if (HAL_GPIO_ReadPin(GPIOA, GPIO_PIN_12) == 1) {
			key = '0';
		} else if (HAL_GPIO_ReadPin(GPIOB, GPIO_PIN_2) == 1) {
			key = '#';
		}
		HAL_GPIO_WritePin(GPIOC, GPIO_PIN_0, 0);
	}

	// Debounce logic
	switch (keypadState) {
	case KEYPAD_IDLE:
		if (key != 0) {
			detectedKey = key;
			debounceStartTime = currentTime;
			keypadState = KEYPAD_DEBOUNCE;
		}
		break;

	case KEYPAD_DEBOUNCE:
		if ((currentTime - debounceStartTime) > DEBOUNCE_DELAY) {
			if (key == detectedKey) {
				currentKeypadInput = key;
				keypadState = KEYPAD_HELD;
			} else {
				keypadState = KEYPAD_IDLE;
			}
		}
		break;

	case KEYPAD_HELD:
		if (key != detectedKey) {
			keypadState = KEYPAD_WAIT_RELEASE;
		}
		break;

	case KEYPAD_WAIT_RELEASE:
		if (key == 0) {
			keypadState = KEYPAD_IDLE;
			keypadButton = 0;
		}
		break;
	}

	// Re-enable interrupt capability by setting all rows high
	HAL_GPIO_WritePin(GPIOA, GPIO_PIN_11, 1);
	HAL_GPIO_WritePin(GPIOB, GPIO_PIN_13, 1);
	HAL_GPIO_WritePin(GPIOB, GPIO_PIN_10, 1);
	HAL_GPIO_WritePin(GPIOC, GPIO_PIN_0, 1);

}

void clearDisplay(void) {
	ssd1306_Fill(BG_COLOR);
}

// write a line of text at a specific row
void writeTextLine(uint8_t row, const char *text) {
	ssd1306_SetCursor(LEFT_MARGIN, row * LINE_HEIGHT);
	ssd1306_WriteString((char*) text, FONT, TEXT_COLOR);
}

// write a value at a specific row
void writeValueAtRow(uint8_t row, const char *text) {
	ssd1306_SetCursor(VALUE_COLUMN, row * LINE_HEIGHT);
	ssd1306_WriteString((char*) text, FONT, TEXT_COLOR);
}

// Update display based on current state
void updateDisplay(void) {
	char str[32];
	clearDisplay();

	// Get current date and
	RTC_TimeTypeDef sTime = { 0 };
	RTC_DateTypeDef sDate = { 0 };
	HAL_RTC_GetTime(&hrtc, &sTime, RTC_FORMAT_BIN);
	HAL_RTC_GetDate(&hrtc, &sDate, RTC_FORMAT_BIN);

	switch (currentState) {
	case STATE_DEFAULT_PAGE:
		writeTextLine(0, "Apparent:");
		sprintf(str, "    %04.0fVA", apparent);
		writeValueAtRow(0, str);

		writeTextLine(1, "Energy/d:");
		sprintf(str, "   %05.0fWh", energy);
		writeValueAtRow(1, str);

		writeTextLine(2, "Units:");
		sprintf(str, "%07.3fkWh", units_left);
		writeValueAtRow(2, str);
		break;

	case STATE_DISPLAY_PAGE_1:
		writeTextLine(0, "Voltage:");
		sprintf(str, "  %05.1fV", voltage);
		writeValueAtRow(0, str);

		writeTextLine(1, "Current:");
		sprintf(str, " %05.0fmA", current);
		writeValueAtRow(1, str);

		writeTextLine(2, "Phase:");
		sprintf(str, "%05.3fRad", phase_diff);
		writeValueAtRow(2, str);
		break;

	case STATE_DISPLAY_PAGE_2:
		writeTextLine(0, "Real:");
		sprintf(str, "  %04.0fW", real_power);
		writeValueAtRow(0, str);

		writeTextLine(1, "Reactive:");
		sprintf(str, "%04.0fVAR", reactive_power);
		writeValueAtRow(1, str);

		writeTextLine(2, "PowerF:");
		sprintf(str, "  %04.3f", power_factor);
		writeValueAtRow(2, str);
		break;

	case STATE_DISPLAY_PAGE_3:
		sprintf(str, "%02d:%02d:%02d %2d/%02d/%02d", sTime.Hours, sTime.Minutes,
				sTime.Seconds, sDate.Year, sDate.Month, sDate.Date);
		writeTextLine(0, str);

		writeTextLine(1, "Max power:");
		sprintf(str, "   %04.0fW", max_power);
		writeValueAtRow(1, str);

		writeTextLine(2, "Min Units:");
		sprintf(str, " %04.0fkWh", min_units);
		writeValueAtRow(2, str);
		break;

	case STATE_MENU_LEVEL_1:
		writeTextLine(0, "Menu(Lv1 1):");
		writeTextLine(1, "1: Load On/Off");
		writeTextLine(2, "2: Manage Units");
		break;

	case STATE_LOAD_SWITCH_MENU:
		writeTextLine(0, "Load on/off");
		writeTextLine(1, "1=ON    2=OFF");
		writeTextLine(2, "'*' to confirm");
		break;

	case STATE_LOAD_SWITCH_MENU_ON:
		writeTextLine(0, "Load on/off");
		writeTextLine(1, "1=ON#    2=OFF");
		writeTextLine(2, "'*' to confirm");
		break;

	case STATE_LOAD_SWITCH_MENU_OFF:
		writeTextLine(0, "Load on/off");
		writeTextLine(1, "1=ON    2=OFF#");
		writeTextLine(2, "'*' to confirm");
		break;

	case STATE_MENU_LEVEL_2:
		writeTextLine(0, "Menu(Lv1 2):");
		writeTextLine(1, "1: Count On/Off");
		writeTextLine(2, "2: Add Units");
		break;

	case STATE_UNIT_COUNT_MENU:
		writeTextLine(0, "Unit Count");
		writeTextLine(1, "1=ON    2=OFF");
		writeTextLine(2, "'*' to confirm");
		break;

	case STATE_UNIT_COUNT_MENU_ON:
		writeTextLine(0, "Unit Count");
		writeTextLine(1, "1=ON#    2=OFF");
		writeTextLine(2, "'*' to confirm");
		break;

	case STATE_UNIT_COUNT_MENU_OFF:
		writeTextLine(0, "Unit Count");
		writeTextLine(1, "1=ON    2=OFF#");
		writeTextLine(2, "'*' to confirm");
		break;

	case STATE_UNITS_ADD_MENU:
		writeTextLine(0, "Units to add:");
		char unitsStr[12];
		sprintf(unitsStr, "%d", unit_add);
		writeTextLine(1, unitsStr);  // Value would be updated as user enters
		writeTextLine(2, "Press '*' to add");
		break;

	case STATE_COUNT_RFID_ON:
		writeTextLine(1, "Present Tag/Card");
		break;

	case STATE_COUNT_RFID_OFF:
		writeTextLine(1, "Present Tag/Card");
		break;

	case STATE_UNITS_RFID:
		writeTextLine(1, "Present Tag/Card");
		break;

	case UNITS_ADD_RFID_UART:
		writeTextLine(1, "Present Tag/Card");
		break;
	}

	// Update the physical display
	ssd1306_UpdateScreen();
}

// Update the state based on keypad input
void updatePowerMonitorState(void) {
	// Process state changes based on current state and input
	switch (currentState) {
	case STATE_DEFAULT_PAGE:
	case STATE_DISPLAY_PAGE_1:
	case STATE_DISPLAY_PAGE_2:
	case STATE_DISPLAY_PAGE_3:
		if (currentKeypadInput == '0') {
			currentState = STATE_DEFAULT_PAGE;
		} else if (currentKeypadInput == '1') {
			currentState = STATE_DISPLAY_PAGE_1;
		} else if (currentKeypadInput == '2') {
			currentState = STATE_DISPLAY_PAGE_2;
		} else if (currentKeypadInput == '3') {
			currentState = STATE_DISPLAY_PAGE_3;
		} else if (currentKeypadInput == '*') {
			currentState = STATE_MENU_LEVEL_1;
		}
		break;

	case STATE_MENU_LEVEL_1:
		if (currentKeypadInput == '1') {
			currentState = STATE_LOAD_SWITCH_MENU;
		} else if (currentKeypadInput == '2') {
			currentState = STATE_MENU_LEVEL_2;
		} else if (currentKeypadInput == '#') {
			currentState = STATE_DEFAULT_PAGE;
		}
		break;

	case STATE_LOAD_SWITCH_MENU:
		if (currentKeypadInput == '1') {
			currentState = STATE_LOAD_SWITCH_MENU_ON;
		} else if (currentKeypadInput == '2') {
			// User selected OFF
			currentState = STATE_LOAD_SWITCH_MENU_OFF;
		} else if (currentKeypadInput == '*') {
			// Confirm setting and return to default page
			currentState = STATE_DEFAULT_PAGE;
		} else if (currentKeypadInput == '#') {
			// Cancel and go back to previous menu
			currentState = STATE_MENU_LEVEL_1;
		}
		break;

	case STATE_LOAD_SWITCH_MENU_ON:
		//user selected ON
		if (currentKeypadInput == '2') {
			currentState = STATE_LOAD_SWITCH_MENU_OFF;
		} else if (currentKeypadInput == '*') {
			// Confirm setting and return to default page
			if (units_left > 0) {
				HAL_GPIO_WritePin(GPIOA, GPIO_PIN_9, 1);
			}
			currentState = STATE_DEFAULT_PAGE;
		} else if (currentKeypadInput == '#') {
			// Cancel and go back to previous menu
			currentState = STATE_MENU_LEVEL_1;
		}
		break;

	case STATE_LOAD_SWITCH_MENU_OFF:
		//user selected OFF
		if (currentKeypadInput == '1') {
			currentState = STATE_LOAD_SWITCH_MENU_ON;
		} else if (currentKeypadInput == '*') {
			// Confirm setting and return to default page
			HAL_GPIO_WritePin(GPIOA, GPIO_PIN_9, 0);
			currentState = STATE_DEFAULT_PAGE;
		} else if (currentKeypadInput == '#') {
			// Cancel and go back to previous menu
			currentState = STATE_MENU_LEVEL_1;
		}
		break;

	case STATE_MENU_LEVEL_2:
		if (currentKeypadInput == '1') {
			currentState = STATE_UNIT_COUNT_MENU;
		} else if (currentKeypadInput == '2') {
			currentState = STATE_UNITS_ADD_MENU;
		} else if (currentKeypadInput == '#') {
			currentState = STATE_MENU_LEVEL_1;
		}
		break;

	case STATE_UNIT_COUNT_MENU:
		if (currentKeypadInput == '1') {
			currentState = STATE_UNIT_COUNT_MENU_ON;
		} else if (currentKeypadInput == '2') {
			currentState = STATE_UNIT_COUNT_MENU_OFF;
		} else if (currentKeypadInput == '#') {
			// Cancel and go back to previous menu
			currentState = STATE_MENU_LEVEL_2;
		}
		break;

	case STATE_UNIT_COUNT_MENU_ON:
		if (currentKeypadInput == '2') {
			currentState = STATE_UNIT_COUNT_MENU_OFF;
		} else if (currentKeypadInput == '*') {
			authFlag = 1;
			authTime = HAL_GetTick();
			currentState = STATE_COUNT_RFID_ON;
		} else if (currentKeypadInput == '#') {
			// Cancel and go back to previous menu
			currentState = STATE_MENU_LEVEL_2;
		}
		break;

	case STATE_UNIT_COUNT_MENU_OFF:
		if (currentKeypadInput == '1') {
			currentState = STATE_UNIT_COUNT_MENU_ON;
		} else if (currentKeypadInput == '*') {
			authFlag = 1;
			authTime = HAL_GetTick();
			currentState = STATE_COUNT_RFID_OFF;
		} else if (currentKeypadInput == '#') {
			// Cancel and go back to previous menu
			currentState = STATE_MENU_LEVEL_2;
		}
		break;

	case STATE_UNITS_ADD_MENU:
		// Handle numeric input for units value
		if ((currentKeypadInput - '0') >= 0
				&& (currentKeypadInput - '0') <= 9) {
			unit_add = unit_add * 10 + (currentKeypadInput - '0');
			if (unit_add >= 999.999) {
				unit_add = 999.999;
			}
			if (unit_add + units_left >= 999.999) {
				unit_add = (999.999 - units_left);
			}
		} else if (currentKeypadInput == '*') {
			authFlag = 1;
			authTime = HAL_GetTick();
			currentState = STATE_UNITS_RFID;
		} else if (currentKeypadInput == '#') {
			// Cancel and go back to previous menu
			currentState = STATE_MENU_LEVEL_2;
			unit_add = 0;
		}
		break;

	case STATE_COUNT_RFID_ON:
		if (HAL_GetTick() - authTime > 5000) {
			// Cancel and go back to previous menu
			currentState = STATE_DEFAULT_PAGE;
			authTime = 0;
			authFlag = 0;
		} else {
			// Wait for RFID authentication
			if (authOK == 1) {
				count_units = 1;
				currentState = STATE_DEFAULT_PAGE;
				authFlag = 0;
				authOK = 0;
				authTime = 0;
			}
		}
		break;

	case STATE_COUNT_RFID_OFF:
		if (HAL_GetTick() - authTime > 5000) {
			// Cancel and go back to previous menu
			currentState = STATE_DEFAULT_PAGE;
			authTime = 0;
			authFlag = 0;
		} else {
			// Wait for RFID authentication
			if (authOK == 1) {
				count_units = 0;
				currentState = STATE_DEFAULT_PAGE;
				authFlag = 0;
				authOK = 0;
				authTime = 0;
			}
		}
		break;

	case STATE_UNITS_RFID:
		if (HAL_GetTick() - authTime > 5000) {
			// Cancel and go back to previous menu
			currentState = STATE_DEFAULT_PAGE;
			unit_add = 0;
			authTime = 0;
			authFlag = 0;
		} else {
			// Wait for RFID authentication
			if (authOK == 1) {
				units_left = unit_add + units_left;
				wHTicker = units_left;
				unit_add = 0;
				currentState = STATE_DEFAULT_PAGE;
				authFlag = 0;
				authOK = 0;
				authTime = 0;
			}
		}
		break;

	case UNITS_ADD_RFID_UART:
		if (HAL_GetTick() - authTime > 5000) {
			// Cancel and go back to previous menu
			currentState = prevState;
			unit_add_kWH = 0;
			unit_add_wH = 0;
			authTime = 0;
			authFlag = 0;
		} else {
			// Wait for RFID authentication
			if (authOK == 1) {
				units_left = units_left + unit_add_kWH;
				wHTicker = units_left;
				unit_add_wH = 0;
				unit_add_kWH = 0;
				currentState = prevState;
				authFlag = 0;
				authOK = 0;
				authTime = 0;
			}
		}
		break;
	}

	// Update the display based on current state
	updateDisplay();
}

// Initialization function to setup the display and state machine
void initPowerMonitor(void) {
	// Initialize the SSD1306 OLED display
	ssd1306_Init();

	// Set initial state
	currentState = STATE_DEFAULT_PAGE;

	// Display the initial screen
	updateDisplay();
}

void debugLEDWhTicker(void) {
	HAL_GPIO_TogglePin(GPIOB, GPIO_PIN_0);
	wHTicker = units_left;
}
void debugLEDUnitsLow(void) {

	uint32_t currentTime = HAL_GetTick();

	if (currentTime - lastToggleTimeLEDUnitsLow >= 500) {
		HAL_GPIO_TogglePin(GPIOA, GPIO_PIN_4);
		lastToggleTimeLEDUnitsLow = currentTime;
	}

}
void debugLEDhighUsage(void) {

	uint32_t currentTime = HAL_GetTick();

	if (currentTime - lastToggleTimeLEDhighUsage >= 500) {
		HAL_GPIO_TogglePin(GPIOC, GPIO_PIN_7);
		lastToggleTimeLEDhighUsage = currentTime;
	}
}

void myprintf(const char *fmt, ...) {
	static char buffer[256];
	va_list args;
	va_start(args, fmt);
	vsnprintf(buffer, sizeof(buffer), fmt, args);
	va_end(args);

	int len = strlen(buffer);
	HAL_UART_Transmit(&huart2, (uint8_t*) buffer, len, -1);

}

/* USER CODE END 4 */

void Error_Handler(void) {
	__disable_irq();
	while (1) {
	}
}
